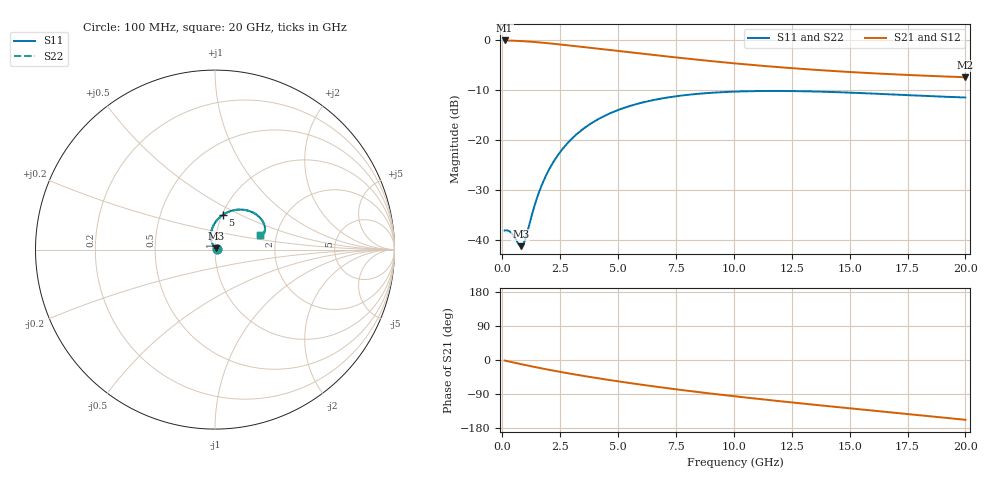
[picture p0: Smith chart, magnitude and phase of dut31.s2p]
! Touchstone file exported from HFSS 2024.1.0
!  File:  C:/UserFiles/LocalFiles/RDL_TSV_Batchsim/temp_RDL_TSV_31_1779402315.aedt
!  Generated:  06:39:27 AM May 22, 2026
!  Design:  RDL_TSV
!  Project:  temp_RDL_TSV_31_1779402315
!  Setup:  Setup1
!  Solution:  Sweep
! Variables:
!  dtsv = 8.34um
!  hbump = 3um
!  htsv = 76.74um
!  ldown = 368.2um
!  lrdl = 253.01um
!  p = 40
!  p1 = 44.7um
!  rhole = 10um
!  subl = 2116.64um
!  t = 450um
!  tdown = 3.32um
!  trdl = 4.75um
!  viad = 10um
!  wdown = 14.23um
!  wrdl = 23.73um
!  xbump = 18um
# GHz S MA R 50.000000
! Terminal data exported
! Port[1] = TM1_1_T1
! Port[2] = TM1_4_T1
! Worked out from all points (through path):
!   200 points, 100 MHz to 20 GHz, reference 50 ohm
!   highest |S21| = -0.11 dB at 100 MHz (marker M1); lowest = -7.5 dB at 20 GHz (marker M2)
!   group delay of S21, straight-line fit = 20.7 ps
!   lowest |S11| = -41.2 dB at 800 MHz (marker M3), VSWR 1.02, Z = 50.5 + j0.681 ohm
!   |S11| at or under -10 dB: start of sweep to end of sweep
!   |S22| runs from -41.2 to -10.2 dB; largest |S21 - S12| = 9.8e-15
!   S11 on the Smith chart (normalised r, x): 100 MHz: 1.03, +0.00; 5 GHz: 1.01, +0.41; 20 GHz: 1.65, +0.29
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0.1  0.01246 4.5  0.9872 -1.4  0.9872 -1.4  0.01246 4.5
! Gamma 0 0 0 0
! Port Impedance 50 0 50 0
0.3  0.0123 11.0  0.9849 -4.1  0.9849 -4.1  0.0123 11.0
0.4  0.01175 14.3  0.9832 -5.5  0.9832 -5.5  0.01175 14.3
0.7  0.009129 36.5  0.9766 -9.5  0.9766 -9.5  0.009125 36.5
0.8  0.008681 50.9  0.9739 -10.8  0.9739 -10.8  0.008677 50.9
0.9  0.009004 67.5  0.9709 -12.1  0.9709 -12.1  0.009001 67.6
1  0.01028 82.9  0.9676 -13.4  0.9676 -13.4  0.01028 82.9
1.3  0.01861 107.6  0.9566 -17.2  0.9566 -17.2  0.01862 107.6
1.5  0.02637 112.7  0.9482 -19.7  0.9482 -19.7  0.02638 112.7
1.7  0.03515 114.1  0.9393 -22.1  0.9393 -22.1  0.03517 114.1
2  0.04963 113.0  0.9251 -25.7  0.9251 -25.7  0.04966 113.0
2.3  0.06512 110.2  0.9103 -29.1  0.9103 -29.1  0.06516 110.2
2.7  0.08654 105.4  0.89 -33.6  0.89 -33.6  0.0866 105.4
3.5  0.1293 95.0  0.8491 -41.9  0.8491 -41.9  0.1293 95.0
4.2  0.164 86.2  0.8141 -48.8  0.8141 -48.8  0.1642 86.3
5  0.1991 77.1  0.7755 -56.3  0.7755 -56.3  0.1993 77.1
6.8  0.2576 59.8  0.6958 -71.7  0.6958 -71.7  0.2579 59.9
8.4  0.2884 47.9  0.6349 -84.1  0.6349 -84.1  0.2887 47.9
10.1  0.3046 38.0  0.5809 -96.2  0.5809 -96.2  0.305 38.0
13.4  0.3054 24.9  0.5042 -117.6  0.5042 -117.6  0.3058 24.9
16.7  0.2861 18.4  0.4553 -137.8  0.4553 -137.8  0.2865 18.4
20  0.2659 17.9  0.4235 -157.8  0.4235 -157.8  0.2662 17.9
